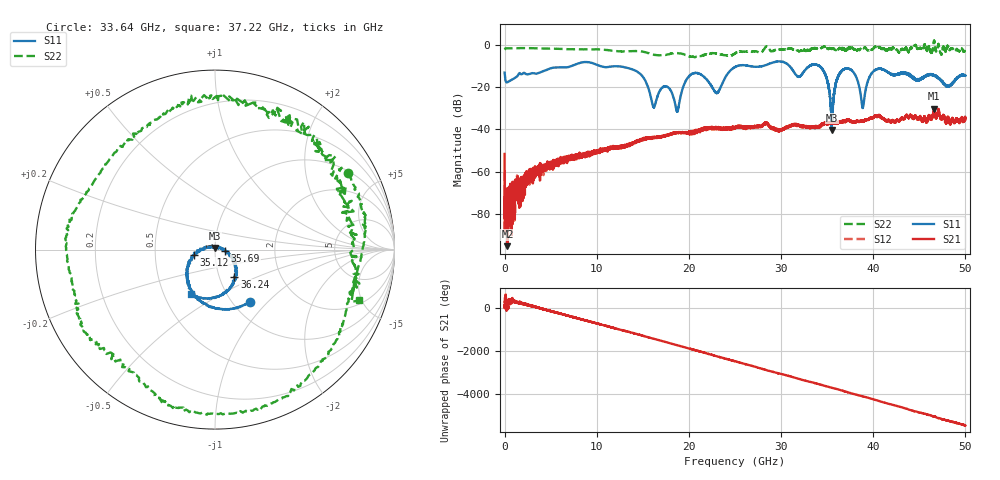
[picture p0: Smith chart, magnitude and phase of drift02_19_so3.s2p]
!Created with skrf (http://scikit-rf.org).
# Hz S RI R 50.0
!freq ReS11 ImS11 ReS21 ImS21 ReS12 ImS12 ReS22 ImS22
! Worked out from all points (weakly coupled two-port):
!   10001 points, 300 kHz to 50 GHz, reference 50 ohm
!   highest |S21| = -30.13 dB at 46.61 GHz (marker M1); lowest = -95.4 dB at 305.3 MHz (marker M2)
!   lowest |S11| = -40.3 dB at 35.5 GHz (marker M3), VSWR 1.02, Z = 50 + j0.97 ohm
!   |S11| at or under -10 dB: start of sweep to 7.176 GHz; 12.34 GHz to 25.17 GHz (12.84 GHz wide, 68.4 % of centre); 34.2 GHz to end of sweep (the widest 3 of 20)
!   |S22| runs from -5.7 to 2.3 dB; largest |S21 - S12| = 0.0031
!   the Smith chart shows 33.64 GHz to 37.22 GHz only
!   S11 on the Smith chart (normalised r, x): 33.64 GHz: 1.20, -0.79; 35.12 GHz: 0.79, -0.04; 35.69 GHz: 1.12, -0.02; 36.24 GHz: 1.18, -0.37; 37.22 GHz: 0.68, -0.37
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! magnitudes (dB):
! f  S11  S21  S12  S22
! 300 kHz  -13.0  -51.6  -60.3  -2.1
! 305.3 MHz  -17.6  -95.4  -77.6  -1.4
! 8.335 GHz  -8.2  -52.5  -52.1  -1.9
! 14.01 GHz  -11.7  -46.1  -46.3  -2.8
! 16.14 GHz  -29.2  -44.0  -44.0  -4.5
! 16.67 GHz  -23.2  -43.9  -43.7  -4.7
! 18.74 GHz  -31.6  -41.6  -41.5  -3.7
! 20.24 GHz  -13.9  -41.6  -41.7  -5.4
! 23.03 GHz  -22.7  -39.3  -39.2  -4.1
! 25 GHz  -10.3  -39.2  -39.1  -3.9
! 33.34 GHz  -9.2  -38.6  -38.6  -1.6
! 33.64 GHz  -9.1  -38.6  -38.6  -1.3
! 35.12 GHz  -18.4  -36.9  -37.3  -1.8
! 35.5 GHz  -40.3  -37.0  -36.8  -1.8
! 35.69 GHz  -24.9  -36.9  -36.7  -1.7
! 36.24 GHz  -14.6  -36.6  -36.6  -1.8
! 37.22 GHz  -11.0  -35.3  -35.4  -1.4
! 38.86 GHz  -29.8  -36.1  -35.9  -1.3
! 39.96 GHz  -12.7  -34.4  -34.4  -1.8
! 41.67 GHz  -13.0  -35.5  -35.6  -1.9
! 46.61 GHz  -14.3  -30.1  -30.3  2.3
! 50 GHz  -14.5  -35.3  -34.3  -2.6
